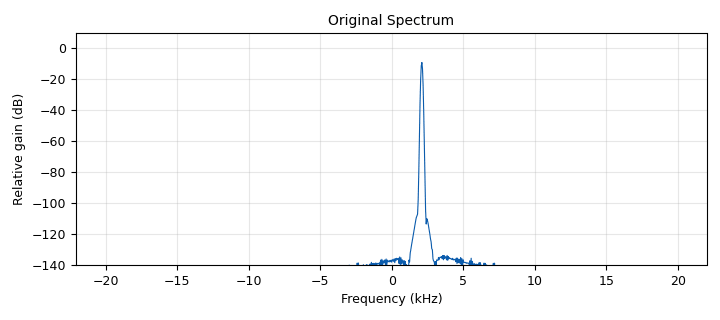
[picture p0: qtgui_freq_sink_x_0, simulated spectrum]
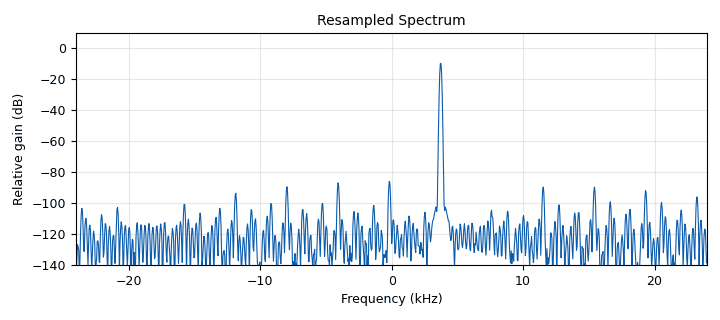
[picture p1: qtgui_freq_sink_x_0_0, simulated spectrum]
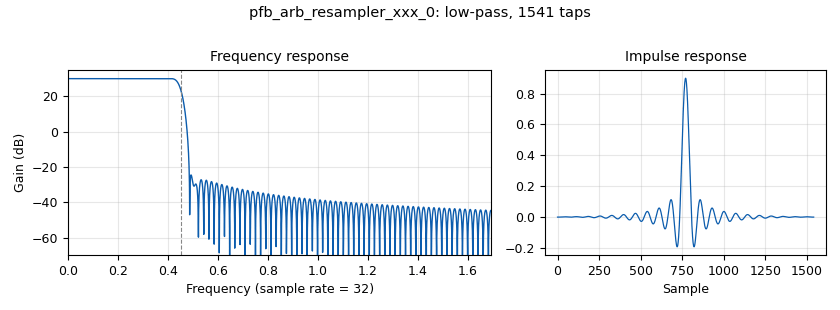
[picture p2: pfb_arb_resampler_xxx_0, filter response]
<?xml version='1.0' encoding='utf-8'?>
<?grc format='1' created='3.7.8rc1'?>
<flow_graph>
<block>
<key>options</key>
<param><key>id</key><value>resampler_demo</value></param>
<param><key>category</key><value>Custom</value></param>
<param><key>generate_options</key><value>qt_gui</value></param>
</block>
<block>
<key>variable_qtgui_label</key>
<param><key>id</key><value>frac_bw</value></param>
<param><key>value</key><value>.45</value></param>
<param><key>formatter</key><value>lambda x: "%0.2f"%x</value></param>
<param><key>gui_hint</key><value>0,2,1,1</value></param>
<param><key>label</key><value>Fractional Bandwidth</value></param>
<param><key>type</key><value>real</value></param>
</block>
<block>
<key>variable_qtgui_label</key>
<param><key>id</key><value>new_rate</value></param>
<param><key>value</key><value>48000</value></param>
<param><key>gui_hint</key><value>0,1,1,1</value></param>
<param><key>label</key><value>Resampling Rate</value></param>
<param><key>type</key><value>real</value></param>
</block>
<block>
<key>variable</key>
<param><key>id</key><value>nphases</value></param>
<param><key>value</key><value>32</value></param>
</block>
<block>
<key>variable</key>
<param><key>id</key><value>rs_taps</value></param>
<param><key>value</key><value>firdes.low_pass(nphases, nphases, frac_bw, 0.5-frac_bw)</value></param>
</block>
<block>
<key>variable_qtgui_label</key>
<param><key>id</key><value>samp_rate</value></param>
<param><key>value</key><value>44100</value></param>
<param><key>gui_hint</key><value>0,0,1,1</value></param>
<param><key>label</key><value>Sampling Rate</value></param>
<param><key>type</key><value>real</value></param>
</block>
<block>
<key>blocks_add_const_vxx</key>
<param><key>id</key><value>adder</value></param>
<param><key>const</key><value>-1.0</value></param>
<param><key>type</key><value>float</value></param>
</block>
<block>
<key>analog_frequency_modulator_fc</key>
<param><key>id</key><value>analog_frequency_modulator_fc_0</value></param>
<param><key>sensitivity</key><value>math.pi</value></param>
</block>
<block>
<key>analog_sig_source_x</key>
<param><key>id</key><value>analog_sig_source_x_0</value></param>
<param><key>amp</key><value>2</value></param>
<param><key>freq</key><value>0.05</value></param>
<param><key>offset</key><value>0</value></param>
<param><key>type</key><value>float</value></param>
<param><key>samp_rate</key><value>samp_rate</value></param>
<param><key>waveform</key><value>analog.GR_TRI_WAVE</value></param>
</block>
<block>
<key>import</key>
<param><key>id</key><value>import_0</value></param>
<param><key>import</key><value>import math</value></param>
</block>
<block>
<key>pfb_arb_resampler_xxx</key>
<param><key>id</key><value>pfb_arb_resampler_xxx_0</value></param>
<param><key>nfilts</key><value>nphases</value></param>
<param><key>rrate</key><value>float(new_rate)/samp_rate</value></param>
<param><key>atten</key><value>100</value></param>
<param><key>taps</key><value>rs_taps</value></param>
<param><key>type</key><value>ccf</value></param>
</block>
<block>
<key>qtgui_freq_sink_x</key>
<param><key>id</key><value>qtgui_freq_sink_x_0</value></param>
<param><key>bw</key><value>samp_rate</value></param>
<param><key>fc</key><value>0</value></param>
<param><key>fftsize</key><value>1024</value></param>
<param><key>gui_hint</key><value>1,0,1,3</value></param>
<param><key>legend</key><value>False</value></param>
<param><key>label1</key><value>Original Spectrum</value></param>
<param><key>name</key><value>Original Spectrum</value></param>
<param><key>showports</key><value>True</value></param>
<param><key>type</key><value>complex</value></param>
<param><key>wintype</key><value>firdes.WIN_BLACKMAN_hARRIS</value></param>
</block>
<block>
<key>qtgui_freq_sink_x</key>
<param><key>id</key><value>qtgui_freq_sink_x_0_0</value></param>
<param><key>bw</key><value>new_rate</value></param>
<param><key>fc</key><value>0</value></param>
<param><key>fftsize</key><value>1024</value></param>
<param><key>gui_hint</key><value>2,0,1,3</value></param>
<param><key>legend</key><value>False</value></param>
<param><key>label1</key><value>Resampled Spectrum</value></param>
<param><key>name</key><value>Resampled Spectrum</value></param>
<param><key>showports</key><value>True</value></param>
<param><key>type</key><value>complex</value></param>
<param><key>wintype</key><value>firdes.WIN_BLACKMAN_hARRIS</value></param>
</block>
<block>
<key>blocks_throttle</key>
<param><key>id</key><value>throttle</value></param>
<param><key>samples_per_second</key><value>samp_rate</value></param>
<param><key>type</key><value>float</value></param>
</block>
<connection><source_block_id>adder</source_block_id><sink_block_id>throttle</sink_block_id><source_key>0</source_key><sink_key>0</sink_key></connection>
<connection><source_block_id>analog_frequency_modulator_fc_0</source_block_id><sink_block_id>pfb_arb_resampler_xxx_0</sink_block_id><source_key>0</source_key><sink_key>0</sink_key></connection>
<connection><source_block_id>analog_frequency_modulator_fc_0</source_block_id><sink_block_id>qtgui_freq_sink_x_0</sink_block_id><source_key>0</source_key><sink_key>0</sink_key></connection>
<connection><source_block_id>analog_sig_source_x_0</source_block_id><sink_block_id>adder</sink_block_id><source_key>0</source_key><sink_key>0</sink_key></connection>
<connection><source_block_id>pfb_arb_resampler_xxx_0</source_block_id><sink_block_id>qtgui_freq_sink_x_0_0</sink_block_id><source_key>0</source_key><sink_key>0</sink_key></connection>
<connection><source_block_id>throttle</source_block_id><sink_block_id>analog_frequency_modulator_fc_0</sink_block_id><source_key>0</source_key><sink_key>0</sink_key></connection>
</flow_graph>
